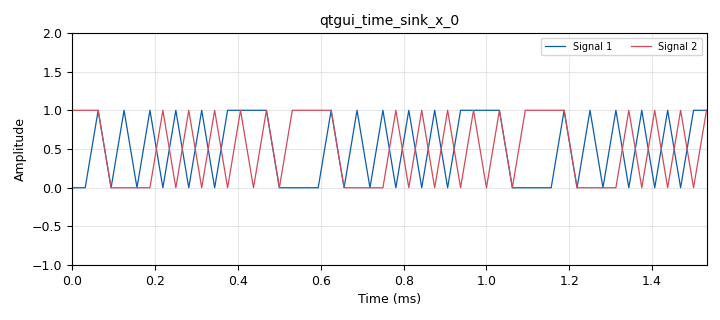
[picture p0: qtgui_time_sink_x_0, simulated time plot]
options:
  parameters:
    author: speik
    generate_options: qt_gui
    generator_class_name: PythonQtGuiGenerator
    generator_module: gnuradio.grc.workflows.python_qt_gui
    id: delaytest
    output_language: python
    title: Not titled yet
  states: {}

blocks:
- name: delay
  id: variable_qtgui_range
  parameters:
    start: '0'
    step: '1'
    stop: '100'
    value: '5'
  states: {}
- name: samp_rate
  id: variable
  parameters:
    value: '32000'
  states: {}
- name: blocks_delay_0
  id: blocks_delay
  parameters:
    delay: delay
    type: byte
  states: {}
- name: blocks_throttle2_0
  id: blocks_throttle2
  parameters:
    samples_per_second: samp_rate
    type: byte
  states: {}
- name: blocks_uchar_to_float_0
  id: blocks_uchar_to_float
  parameters: {}
  states: {}
- name: blocks_uchar_to_float_0_0
  id: blocks_uchar_to_float
  parameters: {}
  states: {}
- name: blocks_vector_source_x_0
  id: blocks_vector_source_x
  parameters:
    repeat: 'True'
    type: byte
    vector: (1,1,1,1,0,0,0,0,1,0,1,0,1,0,1,0,1,0)
  states: {}
- name: qtgui_time_sink_x_0
  id: qtgui_time_sink_x
  parameters:
    ctrlpanel: 'True'
    nconnections: '2'
    size: '50'
    srate: samp_rate
    type: float
    update_time: '0.01'
    ymax: '2'
  states: {}

connections:
- [blocks_delay_0, '0', blocks_uchar_to_float_0_0, '0']
- [blocks_throttle2_0, '0', blocks_uchar_to_float_0, '0']
- [blocks_uchar_to_float_0, '0', qtgui_time_sink_x_0, '0']
- [blocks_uchar_to_float_0_0, '0', qtgui_time_sink_x_0, '1']
- [blocks_vector_source_x_0, '0', blocks_delay_0, '0']
- [blocks_vector_source_x_0, '0', blocks_throttle2_0, '0']

metadata:
  file_format: 1
  grc_version: 3.10.12.0
